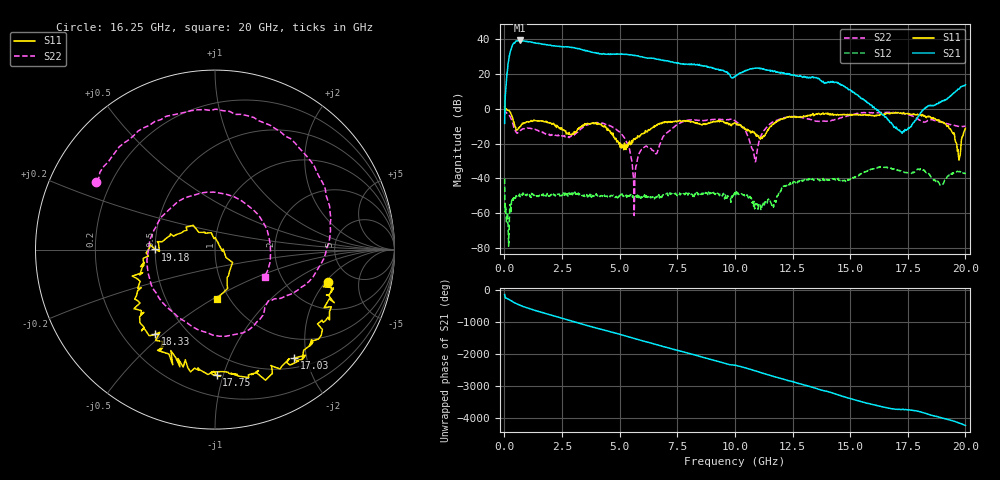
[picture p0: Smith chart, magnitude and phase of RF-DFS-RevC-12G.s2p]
!Agilent Technologies,E8363B,SG43030126,A.07.50.67
!Agilent E8363B: A.07.50.67
!Date: Thursday, May 04, 1989 06:41:27
!Correction: S11(Full 2 Port(1,2))
!S21(Full 2 Port(1,2))
!S12(Full 2 Port(1,2))
!S22(Full 2 Port(1,2))
!S2P File: Measurements: S11, S21, S12, S22:
# Hz S  dB  R 50
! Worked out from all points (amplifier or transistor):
!   801 points, 10 MHz to 20 GHz, reference 50 ohm
!   highest |S21| = 39.2 dB at 684.7 MHz (marker M1)
!   |S21| within 3 dB of that: 343.8 MHz to 2.051 GHz (1.707 GHz wide, 143 % of centre)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
!   unconditionally stable (mu >= 1): 34.37 MHz to 63.75 MHz; 106.4 MHz to end of sweep
!   at 3.333 GHz: K = 2.51, MAG = 34.8 dB, |S12| = -49.2 dB
!   at 10.01 GHz: K = 10.59, MAG = 20.1 dB, |S12| = -48.2 dB
!   at 20 GHz: K = 6.52, MAG = 14.5 dB, |S12| = -37.6 dB
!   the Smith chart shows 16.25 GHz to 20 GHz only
!   S11 on the Smith chart (normalised r, x): 16.25 GHz: 3.36, -2.11; 17.03 GHz: 0.65, -1.78; 17.75 GHz: 0.35, -0.95; 18.33 GHz: 0.33, -0.47; 19.18 GHz: 0.50, +0.00; 20 GHz: 0.87, -0.52
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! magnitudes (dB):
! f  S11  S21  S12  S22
! 10 MHz  1.0  -8.4  -40.0  0.0
! 134.9 MHz  -0.9  22.1  -59.6  -2.8
! 259.9 MHz  -2.1  33.0  -55.0  -4.8
! 684.7 MHz  -10.4  39.2  -50.6  -12.5
! 3.358 GHz  -9.9  34.0  -49.8  -11.2
! 5.008 GHz  -19.6  31.3  -49.8  -13.4
! 5.632 GHz  -17.1  30.5  -51.4  -61.3
! 5.982 GHz  -14.3  29.8  -50.9  -23.5
! 6.682 GHz  -8.7  28.3  -49.9  -22.6
! 7.756 GHz  -7.1  25.6  -48.9  -7.5
! 10.01 GHz  -8.1  18.4  -48.2  -6.9
! 10.85 GHz  -14.3  23.3  -57.5  -28.6
! 11.63 GHz  -9.1  22.0  -54.5  -7.8
! 13.35 GHz  -3.6  18.3  -40.5  -6.5
! 16.25 GHz  -3.7  -1.6  -33.4  -2.4
! 16.68 GHz  -2.8  -6.7  -34.4  -2.1
! 17.03 GHz  -2.5  -11.2  -35.3  -2.4
! 17.75 GHz  -3.1  -8.1  -36.8  -4.5
! 18.33 GHz  -4.8  1.1  -36.3  -7.2
! 19.18 GHz  -9.5  5.5  -40.0  -8.5
! 19.7 GHz  -27.3  11.2  -36.2  -10.1
! 20 GHz  -11.3  13.7  -37.6  -10.0
